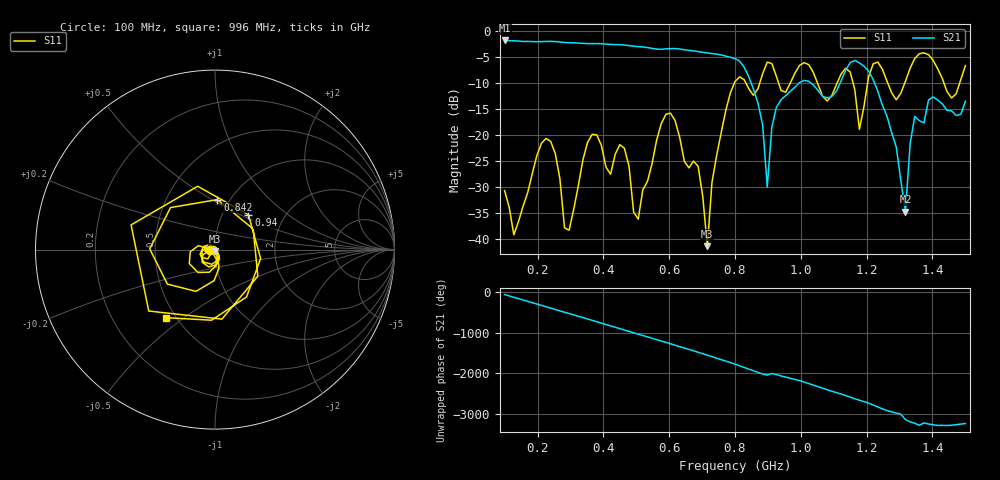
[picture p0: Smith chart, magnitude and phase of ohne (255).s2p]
! NanoVNA-App
! Date: 2025-09-25 14:22:47
! Start: 100MHz Stop: 1,5GHz Points: 101
! S-Parameter data: F S11 S21 S12 S22
# Hz S RI R 50
!  Frequency  S11_Real  S11_Imag  S21_Real  S21_Imag  S12_Real  S12_Imag  S22_Real  S22_Imag
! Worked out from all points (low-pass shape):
!   101 points, 100 MHz to 1.5 GHz, reference 50 ohm
!   highest |S21| = -1.79 dB at 100 MHz (marker M1); lowest = -34.7 dB at 1.318 GHz (marker M2)
!   |S21| within 3 dB of the highest: start of sweep to 771.2 MHz
!   lowest |S11| = -41.3 dB at 716 MHz (marker M3), VSWR 1.02, Z = 49.8 - j0.842 ohm
!   |S11| at or under -10 dB: start of sweep to 798 MHz; 833.3 MHz to 875.1 MHz (41.82 MHz wide, 4.9 % of centre); 1.051 GHz to 1.11 GHz (59.24 MHz wide, 5.48 % of centre) (the widest 3 of 7)
!   S12 and S22 are empty: the file has one direction only
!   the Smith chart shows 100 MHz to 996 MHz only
!   S11 on the Smith chart (normalised r, x): 100 MHz: 0.94, -0.01; 842 MHz: 0.88, +0.53; 940 MHz: 1.33, +0.55; 996 MHz: 0.44, -0.43
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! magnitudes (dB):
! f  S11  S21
! 100 MHz  -30.6  -1.8
! 128 MHz  -39.1  -1.9
! 226 MHz  -20.6  -2.0
! 296 MHz  -38.2  -2.2
! 338 MHz  -24.7  -2.3
! 464 MHz  -22.5  -2.7
! 506 MHz  -36.1  -3.0
! 576 MHz  -17.7  -3.5
! 688 MHz  -26.0  -3.9
! 716 MHz  -41.3  -4.2
! 800 MHz  -9.7  -5.3
! 842 MHz  -11.1  -8.8
! 898 MHz  -6.0  -30.0
! 940 MHz  -11.4  -13.2
! 996 MHz  -6.6  -9.9
! 1.038 GHz  -7.9  -10.4
! 1.178 GHz  -18.9  -6.1
! 1.22 GHz  -6.3  -9.3
! 1.276 GHz  -11.8  -19.5
! 1.318 GHz  -9.6  -34.7
! 1.346 GHz  -5.3  -16.4
! 1.5 GHz  -6.6  -13.5
